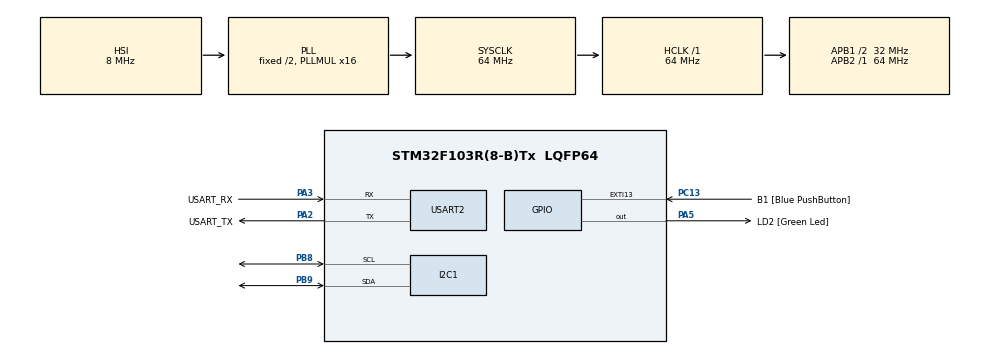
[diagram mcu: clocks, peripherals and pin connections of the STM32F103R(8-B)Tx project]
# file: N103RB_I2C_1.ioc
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Mcu.Family=STM32F1
Mcu.Name=STM32F103R(8-B)Tx
Mcu.Package=LQFP64
NVIC.EXTI15_10_IRQn=true\:0\:0\:false\:false\:true\:true\:true
NVIC.PriorityGroup=NVIC_PRIORITYGROUP_4
PA13.GPIO_Label=TMS
PA13.Mode=Serial_Wire
PA13.Signal=SYS_JTMS-SWDIO
PA14.GPIO_Label=TCK
PA14.Mode=Serial_Wire
PA14.Signal=SYS_JTCK-SWCLK
PA2.GPIO_Label=USART_TX
PA2.GPIO_Mode=GPIO_MODE_AF_PP
PA2.GPIO_PuPd=GPIO_NOPULL
PA2.GPIO_Speed=GPIO_SPEED_FREQ_LOW
PA2.Mode=Asynchronous
PA2.Signal=USART2_TX
PA3.GPIO_Label=USART_RX
PA3.GPIO_Mode=GPIO_MODE_AF_PP
PA3.GPIO_PuPd=GPIO_NOPULL
PA3.GPIO_Speed=GPIO_SPEED_FREQ_LOW
PA3.Mode=Asynchronous
PA3.Signal=USART2_RX
PA5.GPIO_Label=LD2 [Green Led]
PA5.GPIO_ModeDefaultOutputPP=GPIO_MODE_OUTPUT_PP
PA5.GPIO_PuPd=GPIO_NOPULL
PA5.GPIO_Speed=GPIO_SPEED_FREQ_LOW
PA5.Signal=GPIO_Output
PB3.GPIO_Label=SWO
PB3.Signal=SYS_JTDO-TRACESWO
PB8.Mode=I2C
PB8.Signal=I2C1_SCL
PB9.Mode=I2C
PB9.Signal=I2C1_SDA
PC13-TAMPER-RTC.GPIO_Label=B1 [Blue PushButton]
PC13-TAMPER-RTC.GPIO_PuPd=GPIO_NOPULL
PC13-TAMPER-RTC.Signal=GPXTI13
PC14-OSC32_IN.Mode=LSE-External-Oscillator
PC14-OSC32_IN.Signal=RCC_OSC32_IN
PC15-OSC32_OUT.Mode=LSE-External-Oscillator
PC15-OSC32_OUT.Signal=RCC_OSC32_OUT
PD0-OSC_IN.Mode=HSE-External-Clock-Source
PD0-OSC_IN.Signal=RCC_OSC_IN
PD1-OSC_OUT.Mode=HSE-External-Clock-Source
PD1-OSC_OUT.Signal=RCC_OSC_OUT
ProjectManager.HeapSize=0x200
ProjectManager.StackSize=0x400
ProjectManager.TargetToolchain=TrueSTUDIO
RCC.AHBFreq_Value=64000000
RCC.APB1CLKDivider=RCC_HCLK_DIV2
RCC.APB1Freq_Value=32000000
RCC.APB1TimFreq_Value=64000000
RCC.APB2Freq_Value=64000000
RCC.APB2TimFreq_Value=64000000
RCC.HCLKFreq_Value=64000000
RCC.PLLMUL=RCC_PLL_MUL16
RCC.RTCClockSelection=RCC_RTCCLKSOURCE_LSE
RCC.SYSCLKFreq_VALUE=64000000
RCC.SYSCLKSource=RCC_SYSCLKSOURCE_PLLCLK
RCC.USBFreq_Value=64000000
USART2.VirtualMode=VM_ASYNC
board=NUCLEO-F103RB

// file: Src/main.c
/* USER CODE BEGIN Header */
/**
  ******************************************************************************
  * @file           : main.c
  * @brief          : Main program body
  ******************************************************************************
  * @attention
  *
  * <h2><center>&copy; Copyright (c) 2020 STMicroelectronics.
  * All rights reserved.</center></h2>
  *
  * This software component is licensed by ST under BSD 3-Clause license,
  * the "License"; You may not use this file except in compliance with the
  * License. You may obtain a copy of the License at:
  *                        opensource.org/licenses/BSD-3-Clause
  *
  ******************************************************************************
  */
/* USER CODE END Header */

#include "main.h"
#include "i2c.h"
#include "usart.h"
#include "gpio.h"

/* USER CODE BEGIN Includes */
#include <stdio.h>
#include <string.h>
/* USER CODE END Includes */

void SystemClock_Config(void);
/* USER CODE BEGIN PFP */
int _write(int file, char *ptr, int len)
{
	int DataIdx;

	for (DataIdx = 0; DataIdx < len; DataIdx++)
	{
		//__io_putchar(*ptr++);
		HAL_UART_Transmit(&huart2, (uint8_t *)(&ptr[DataIdx]), 1, 0xFF);
	}
	return len;
}
/* USER CODE END PFP */

int main(void)
{

  /* MCU Configuration--------------------------------------------------------*/

  /* Reset of all peripherals, Initializes the Flash interface and the Systick. */
  HAL_Init();

  /* Configure the system clock */
  SystemClock_Config();

  /* Initialize all configured peripherals */
  MX_GPIO_Init();
  MX_USART2_UART_Init();
  MX_I2C1_Init();
  /* USER CODE BEGIN 2 */
  uint8_t eeprom[20] = {0x11, 0x21, 0x31, 0x41, 0x51, 0x61, 0x71, 0x81, 0x91, 0xB0, 0xB1, 0xB2, 0xB3, 0xB4, 0xB5, 0xB6, 0xB7, 0xB8, 0xB9, 0xBA };
  HAL_I2C_Mem_Write(&hi2c1, 0xA0, 0, I2C_MEMADD_SIZE_8BIT, &eeprom[0], 20, 0xFF);

  for(int i=0; i<10; i++) eeprom[i] = 0;
  HAL_I2C_Mem_Read(&hi2c1, 0xA0, 0, I2C_MEMADD_SIZE_8BIT, &eeprom[0], 20, 0xFF);

  for(int i = 0; i<20; i++)
    	  printf("EEPROM %02d : %02X \r\n", i, eeprom[i]);
  /* USER CODE END 2 */

  /* Infinite loop */
  /* USER CODE BEGIN WHILE */
  while (1)
  {
  	//printf("Hello Nucleo-F103RB \r\n");
    HAL_GPIO_TogglePin(LD2_GPIO_Port, LD2_Pin);
  	HAL_Delay(1000);
    /* USER CODE END WHILE */

  }
}

void SystemClock_Config(void)
{
  RCC_OscInitTypeDef RCC_OscInitStruct = {0};
  RCC_ClkInitTypeDef RCC_ClkInitStruct = {0};

  /** Initializes the CPU, AHB and APB busses clocks
  */
  RCC_OscInitStruct.OscillatorType = RCC_OSCILLATORTYPE_HSI;
  RCC_OscInitStruct.HSIState = RCC_HSI_ON;
  RCC_OscInitStruct.HSICalibrationValue = RCC_HSICALIBRATION_DEFAULT;
  RCC_OscInitStruct.PLL.PLLState = RCC_PLL_ON;
  RCC_OscInitStruct.PLL.PLLSource = RCC_PLLSOURCE_HSI_DIV2;
  RCC_OscInitStruct.PLL.PLLMUL = RCC_PLL_MUL16;
  if (HAL_RCC_OscConfig(&RCC_OscInitStruct) != HAL_OK)
  {
    Error_Handler();
  }
  /** Initializes the CPU, AHB and APB busses clocks
  */
  RCC_ClkInitStruct.ClockType = RCC_CLOCKTYPE_HCLK|RCC_CLOCKTYPE_SYSCLK
                              |RCC_CLOCKTYPE_PCLK1|RCC_CLOCKTYPE_PCLK2;
  RCC_ClkInitStruct.SYSCLKSource = RCC_SYSCLKSOURCE_PLLCLK;
  RCC_ClkInitStruct.AHBCLKDivider = RCC_SYSCLK_DIV1;
  RCC_ClkInitStruct.APB1CLKDivider = RCC_HCLK_DIV2;
  RCC_ClkInitStruct.APB2CLKDivider = RCC_HCLK_DIV1;

  if (HAL_RCC_ClockConfig(&RCC_ClkInitStruct, FLASH_LATENCY_2) != HAL_OK)
  {
    Error_Handler();
  }
}

void Error_Handler(void)
{
}

/************************ (C) COPYRIGHT STMicroelectronics *****END OF FILE****/
